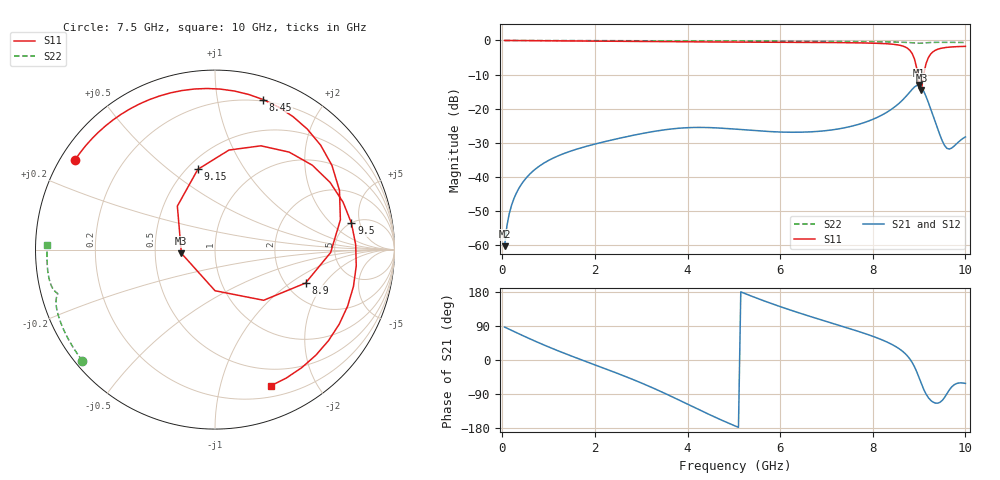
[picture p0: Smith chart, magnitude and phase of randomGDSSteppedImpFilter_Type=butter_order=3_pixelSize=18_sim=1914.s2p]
! freq	dB(S11)	phase(S11)	dB(S12)	phase(S12)
!  dB(S21)	phase(S21)	dB(S22)	phase(S22)
!S-par simulation data
#  GHz  S  DB  R 50
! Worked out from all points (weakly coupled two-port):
!   200 points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, 50 MHz to 10 GHz, reference 50 ohm
!   highest |S21| = -13.15 dB at 9 GHz (marker M1); lowest = -60.2 dB at 50 MHz (marker M2)
!   lowest |S11| = -14.5 dB at 9.05 GHz (marker M3), VSWR 1.46, Z = 34.2 - j1.44 ohm
!   |S11| at or under -10 dB: 8.97 GHz to 9.099 GHz (128.8 MHz wide, 1.43 % of centre)
!   |S22| runs from -0.8 to 0.0 dB; largest |S21 - S12| = 0
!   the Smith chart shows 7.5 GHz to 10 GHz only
!   S11 on the Smith chart (normalised r, x): 7.5 GHz: 0.04, +0.29; 8.45 GHz: 0.19, +1.36; 8.9 GHz: 2.53, -1.33; 9.15 GHz: 0.56, +0.64; 9.5 GHz: 5.05, +3.72; 10 GHz: 0.31, -1.44
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0.05  -0.01 -4.8  -60.21 86.8  -60.21 86.8  -0.00 -1.1
0.15  -0.02 -14.2  -50.72 81.1  -50.72 81.1  -0.01 -3.2
0.3  -0.04 -28.2  -44.78 72.5  -44.78 72.5  -0.01 -6.4
0.85  -0.09 -77.2  -36.31 42.2  -36.31 42.2  -0.02 -18.0
1.75  -0.16 -147.6  -31.24 -1.5  -31.24 -1.5  -0.05 -36.6
2.55  -0.21 153.0  -28.56 -38.3  -28.56 -38.3  -0.07 -52.6
3.4  -0.32 81.7  -26.35 -81.9  -26.35 -81.9  -0.10 -69.0
4.2  -0.42 5.6  -25.46 -128.3  -25.46 -128.3  -0.13 -83.7
5.05  -0.46 -67.3  -25.98 -175.2  -25.98 -175.2  -0.16 -98.8
5.75  -0.48 -114.6  -26.65 151.7  -26.65 151.7  -0.20 -110.8
6.7  -0.55 -167.8  -26.72 112.9  -26.72 112.9  -0.26 -126.8
7.5  -0.66 147.4  -25.24 82.8  -25.24 82.8  -0.32 -140.0
8.35  -1.01 83.1  -20.63 44.9  -20.63 44.9  -0.43 -154.3
8.45  -1.13 72.2  -19.69 38.7  -19.69 38.7  -0.46 -156.1
8.75  -2.29 25.5  -15.89 10.5  -15.89 10.5  -0.59 -161.4
8.9  -5.39 -20.3  -13.63 -17.7  -13.63 -17.7  -0.74 -163.6
9  -12.80 -90.0  -13.15 -46.8  -13.15 -46.8  -0.82 -164.4
9.05  -14.50 -173.8  -13.72 -62.8  -13.72 -62.8  -0.80 -164.6
9.15  -6.80 102.1  -16.39 -89.8  -16.39 -89.8  -0.68 -165.8
9.3  -3.32 52.7  -21.93 -111.1  -21.93 -111.1  -0.57 -168.5
9.5  -2.22 11.0  -29.37 -106.7  -29.37 -106.7  -0.54 -172.4
10  -1.72 -67.8  -28.24 -61.8  -28.24 -61.8  -0.59 178.4
